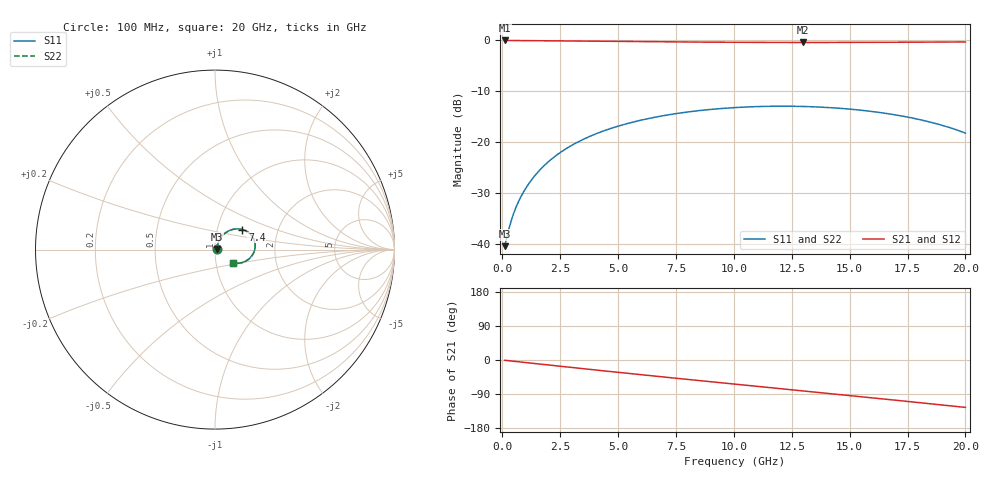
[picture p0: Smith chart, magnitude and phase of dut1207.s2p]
! Touchstone file exported from HFSS 2026.1.0
!  File:  C:/ffzhzh/LocalFiles/Ansys_Project_Files/temp_train_TSV_RDL_1207_1783319225_38820.aedt
!  Generated:  02:38:15 PM Jul  6, 2026
!  Design:  TSV_RDL
!  Project:  temp_train_TSV_RDL_1207_1783319225_38820
! Variables:
!  h_bsmrdl = 4.62um
!  h_ox = 20um
!  h_rdl = 5um
!  h_sub = 79.18um
!  h_tmrdl = 4.45um
!  h_tsv = 79.18um
!  h_via = 3um
!  l_bsmrdl = 141.39um
!  l_sub = 1875.97um
!  l_tmrdl = 239.46um
!  m_sub = 200um
!  pitch = 30.43um
!  r_tsv = 9.47um
!  s_tmrdl = 10um
!  w_bsmrdl = 17.14um
!  w_sub = 500um
!  w_tmrdl = 14.18um
!  x_tsv_center1 = 246.55um
!  x_tsv_center2 = 405.08um
!  x_tsv_center3 = 658.72um
!  x_tsv_center4 = 817.25um
!  x_tsv_center5 = 1070.89um
!  x_tsv_center6 = 1229.42um
# GHz S MA R 50.000000
! Terminal data exported
! Port[1] = TM_RDL1_1_T1
! Port[2] = TM_RDL5_1_T1
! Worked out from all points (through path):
!   200 points, 100 MHz to 20 GHz, reference 50 ohm
!   highest |S21| = -0.08 dB at 100 MHz (marker M1); lowest = -0.5 dB at 13 GHz (marker M2)
!   group delay of S21, straight-line fit = 17.2 ps
!   lowest |S11| = -40.3 dB at 100 MHz (marker M3), VSWR 1.02, Z = 50.9 + j0.378 ohm
!   |S11| at or under -10 dB: start of sweep to end of sweep
!   |S22| runs from -40.3 to -12.9 dB; largest |S21 - S12| = 1.7e-14
!   S11 on the Smith chart (normalised r, x): 100 MHz: 1.02, +0.01; 7.4 GHz: 1.32, +0.31; 20 GHz: 1.20, -0.18
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0.1  0.009626 22.7  0.9912 -0.7  0.9912 -0.7  0.009626 22.7
! Gamma 0 0 0 0
! Port Impedance 50 0 50 0
0.3  0.0146 46.9  0.9903 -2.1  0.9903 -2.1  0.0146 46.9
0.4  0.01749 52.4  0.9899 -2.7  0.9899 -2.7  0.01749 52.4
0.6  0.02332 58.6  0.9891 -4.1  0.9891 -4.1  0.02332 58.6
0.9  0.03211 63.1  0.9882 -6.0  0.9882 -6.0  0.03211 63.1
1.2  0.041 65.1  0.9873 -8.0  0.9873 -8.0  0.041 65.1
1.7  0.05589 65.6  0.9858 -11.3  0.9858 -11.3  0.05589 65.6
2.2  0.07062 64.4  0.9841 -14.6  0.9841 -14.6  0.07062 64.4
2.8  0.0878 62.0  0.9816 -18.5  0.9816 -18.5  0.0878 62.0
3.5  0.1069 58.6  0.9784 -23.0  0.9784 -23.0  0.1069 58.6
5  0.1437 50.2  0.9709 -32.5  0.9709 -32.5  0.1437 50.2
6.8  0.1794 39.7  0.9622 -43.8  0.9622 -43.8  0.1794 39.7
7.4  0.1892 36.2  0.9595 -47.5  0.9595 -47.5  0.1892 36.2
8.8  0.2075 28.1  0.9542 -56.1  0.9542 -56.1  0.2075 28.1
10.1  0.2188 20.5  0.9505 -64.0  0.9505 -64.0  0.2188 20.5
11.6  0.225 11.8  0.9479 -73.1  0.9479 -73.1  0.225 11.8
13  0.224 3.7  0.9471 -81.6  0.9471 -81.6  0.224 3.7
13.4  0.2225 1.4  0.9472 -84.1  0.9472 -84.1  0.2225 1.4
15.1  0.2101 -8.6  0.9486 -94.5  0.9486 -94.5  0.2101 -8.5
16.7  0.1897 -18.0  0.9514 -104.3  0.9514 -104.3  0.1897 -17.9
18.5  0.1571 -28.6  0.9553 -115.6  0.9553 -115.6  0.1571 -28.6
20  0.123 -37.4  0.9584 -125.1  0.9584 -125.1  0.123 -37.4
